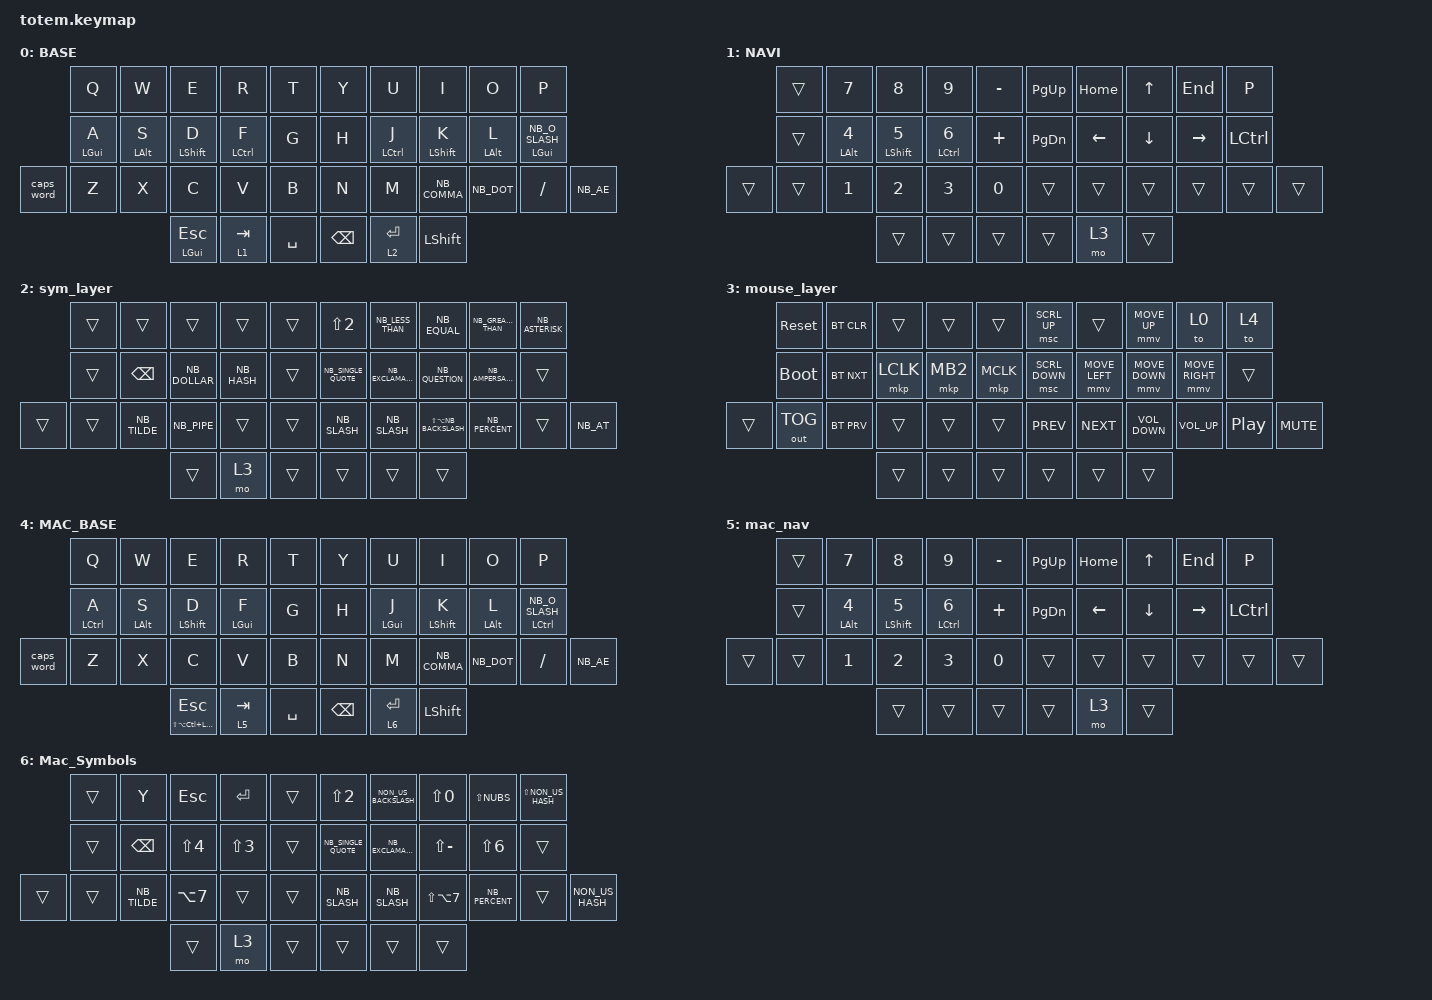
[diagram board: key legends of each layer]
//
//                                                        ▀▀▀▀▀     ▀▀▀▀▀          ▀▀█▀▀
//                                                        ▄▀▀▀▄  ▄  ▄▀▀▀▄  ▄  ▄▀▀▀▄  █  ▄▀▀▀▄
//                                                        █   █  █  █   █  █  █   █  █  █   █
//                                                         ▀▀▀   █   ▀▀▀   █   ▀▀▀   ▀   ▀▀▀
//                                                               █      ▄▄▄█▄▄▄    █   █  
//                                                               ▀      █  █  █     █▄█
//                                                             ▀▀▀▀▀    █  █  █      ▀
//                                                                      ▀  ▀  ▀
//
// ▄▄▄▄▄▄▄▄▄▄▄▄▄▄▄▄▄▄▄▄▄▄▄▄▄▄▄▄▄▄▄▄▄▄▄▄▄▄▄▄▄▄▄▄▄▄▄▄▄▄▄▄▄▄▄▄▄▄▄▄▄▄▄▄▄▄▄▄▄▄▄▄▄▄▄▄▄▄▄▄▄▄▄▄▄▄▄▄▄▄▄▄▄▄▄▄▄▄▄▄▄▄▄▄▄▄▄▄▄▄▄▄▄▄▄▄▄▄▄▄▄▄▄▄▄▄▄▄▄▄▄▄▄▄▄▄▄▄▄▄▄▄▄▄▄▄▄▄▄

#include <behaviors.dtsi>
#include <dt-bindings/zmk/bt.h>
#include <dt-bindings/zmk/keys.h>
#include <dt-bindings/zmk/outputs.h>
#include <dt-bindings/zmk/pointing.h>
#include "keys_nb.h"

#define BASE 0
#define NAV  1
#define SYM  2
#define ADJ  3
#define TVP1 4
#define TVP2 5
#define COMBO_TIMEOUT 50

&mt {
    quick-tap-ms = <100>;
    global-quick-tap;
    flavor = "tap-preferred";
    tapping-term-ms = <170>;
};

/ {
    combos {
        compatible = "zmk,combos";

        combo_esc {
            timeout-ms = <COMBO_TIMEOUT>;
            key-positions = <0 1>;
            bindings = <&kp NB_AT>;
        };

        sqbrackets {
            timeout-ms = <COMBO_TIMEOUT>;
            key-positions = <4 3>;
            bindings = <&kp NB_LEFT_BRACKET>;
        };

        brackets {
            timeout-ms = <COMBO_TIMEOUT>;
            bindings = <&kp NB_LEFT_PARENTHESIS>;
            key-positions = <13 14>;
        };

        sgbrackets {
            timeout-ms = <COMBO_TIMEOUT>;
            bindings = <&kp NB_LEFT_BRACE>;
            key-positions = <24 25>;
        };

        sqbrackete {
            timeout-ms = <COMBO_TIMEOUT>;
            bindings = <&kp NB_RIGHT_BRACKET>;
            key-positions = <5 6>;
            layers = <0>;
        };

        brackete {
            timeout-ms = <COMBO_TIMEOUT>;
            bindings = <&kp NB_RIGHT_PARENTHESIS>;
            key-positions = <15 16>;
        };

        sgbrackete {
            timeout-ms = <COMBO_TIMEOUT>;
            bindings = <&kp LS(LA(NB_RIGHT_BRACE))>;
            key-positions = <26 27>;
        };

        menu {
            timeout-ms = <COMBO_TIMEOUT>;
            bindings = <&kp LG(SPACE)>;
            key-positions = <34 35>;
        };

        semi {
            timeout-ms = <COMBO_TIMEOUT>;
            bindings = <&kp NB_SEMICOLON>;
            key-positions = <27 28>;
        };

        colon {
            timeout-ms = <COMBO_TIMEOUT>;
            bindings = <&kp NB_COLON>;
            key-positions = <28 29>;
        };

        underline {
            timeout-ms = <COMBO_TIMEOUT>;
            bindings = <&kp NB_UNDERSCORE>;
            key-positions = <29 30>;
        };

        nb_aa {
            timeout-ms = <COMBO_TIMEOUT>;
            bindings = <&kp NB_A_RING>;
            key-positions = <19 31>;
        };

        mac_bracket {
            timeout-ms = <COMBO_TIMEOUT>;
            bindings = <&kp LS(LA(N8))>;
            key-positions = <24 25>;
            layers = <4>;
        };

        mac_bracket_left {
            timeout-ms = <COMBO_TIMEOUT>;
            bindings = <&kp LS(LA(N9))>;
            key-positions = <26 27>;
            layers = <4>;
        };
    };

    macros {
        gif: gif {
            label = "giphy";
            compatible = "zmk,behavior-macro";
            #binding-cells = <0>;
            bindings =
                <&macro_press>,
                <&kp LSHFT>,
                <&macro_tap>,
                <&kp N2>,
                <&macro_release>,
                <&kp LSHFT>,
                <&macro_tap>,
                <&kp G &kp I &kp F>;
        };
    };

    keymap {
        compatible = "zmk,keymap";

        // ▄▄▄▄▄▄▄▄▄▄▄▄▄▄▄▄▄▄▄▄▄▄▄▄▄▄▄▄▄▄▄▄▄▄▄▄▄▄▄▄▄▄▄▄▄▄▄▄▄▄▄▄▄▄▄▄▄▄▄▄▄▄▄▄▄▄▄▄▄▄▄▄▄▄▄▄▄▄▄▄▄▄▄▄▄▄▄▄▄▄▄▄▄▄▄▄▄▄▄▄▄▄▄▄▄▄▄▄▄▄▄▄▄▄▄▄▄▄▄▄▄▄▄▄▄▄▄▄▄▄▄▄▄▄▄▄▄▄▄▄▄▄▄▄▄▄▄▄▄

        base_layer {
            // ┏━━━━━━━━━━━━━━━━━━━━━━━━━━━━━━━━━━━━━━━┓

            label = "BASE";

            // ┗━━━━━━━━━━━━━━━━━━━━━━━━━━━━━━━━━━━━━━━┛
            //             ┏━━━━━━━━━━━┳━━━━━━━━━━━┳━━━━━━━━━━━┳━━━━━━━━━━━┳━━━━━━━━━━━┓   ┏━━━━━━━━━━━┳━━━━━━━━━━━┳━━━━━━━━━━━┳━━━━━━━━━━━┳━━━━━━━━━━━┓
            //             ┃     Q     ┃     W     ┃     F     ┃     P     ┃     G     ┃   ┃     J     ┃     L     ┃     U     ┃     Y     ┃     ;     ┃
            //             ┣━━━━━━━━━━━╋━━━━━━━━━━━╋━━━━━━━━━━━╋━━━━━━━━━━━╋━━━━━━━━━━━┫   ┣━━━━━━━━━━━╋━━━━━━━━━━━╋━━━━━━━━━━━╋━━━━━━━━━━━╋━━━━━━━━━━━┫
            //             ┃     A     ┃     R     ┃     S     ┃     T     ┃     D     ┃   ┃     H     ┃     N     ┃     E     ┃     I     ┃     O     ┃
            // ┏━━━━━━━━━━━╋━━━━━━━━━━━╋━━━━━━━━━━━╋━━━━━━━━━━━╋━━━━━━━━━━━╋━━━━━━━━━━━┫   ┣━━━━━━━━━━━╋━━━━━━━━━━━╋━━━━━━━━━━━╋━━━━━━━━━━━╋━━━━━━━━━━━╋━━━━━━━━━━━┓
            // ┃     Q     ┃     Z     ┃     X     ┃     C     ┃     V     ┃     B     ┃   ┃     K     ┃     M     ┃     ,     ┃     .     ┃     /     ┃     \     ┃
            // ┗━━━━━━━━━━━┻━━━━━━━━━━━┻━━━━━━━━━━━╋━━━━━━━━━━━╋━━━━━━━━━━━╋━━━━━━━━━━━┫   ┣━━━━━━━━━━━╋━━━━━━━━━━━╋━━━━━━━━━━━╋━━━━━━━━━━━┻━━━━━━━━━━━┻━━━━━━━━━━━┛
            //                                     ┃    DEL    ┃    TAB    ┃    SPC    ┃   ┃   ENTER   ┃           ┃   BSPC    ┃
            //                                     ┗━━━━━━━━━━━┻━━━━━━━━━━━┻━━━━━━━━━━━┛   ┗━━━━━━━━━━━┻━━━━━━━━━━━┻━━━━━━━━━━━┛

            bindings = <
            &kp Q       &kp W       &kp E             &kp R               &kp T        &kp Y          &kp U               &kp I             &kp O           &kp P
            &mt LGUI A  &mt LALT S  &mt LEFT_SHIFT D  &mt LEFT_CONTROL F  &kp G        &kp H          &mt LEFT_CONTROL J  &mt LEFT_SHIFT K  &mt LEFT_ALT L  &mt LEFT_GUI NB_O_SLASH
&caps_word  &kp Z       &kp X       &kp C             &kp V               &kp B        &kp N          &kp M               &kp NB_COMMA      &kp NB_DOT      &kp FSLH                 &kp NB_AE
                                    &mt LGUI ESC      &lt 1 TAB           &kp SPACE    &kp BACKSPACE  &lt 2 ENTER         &kp LEFT_SHIFT
            >;
        };

        nav_layer {
            // ┏━━━━━━━━━━━━━━━━━━━━━━━━━━━━━━━━━━━━━━━┓

            label = "NAVI";

            // ┗━━━━━━━━━━━━━━━━━━━━━━━━━━━━━━━━━━━━━━━┛
            //             ┏━━━━━━━━━━━┳━━━━━━━━━━━┳━━━━━━━━━━━┳━━━━━━━━━━━┳━━━━━━━━━━━┓   ┏━━━━━━━━━━━┳━━━━━━━━━━━┳━━━━━━━━━━━┳━━━━━━━━━━━┳━━━━━━━━━━━┓
            //             ┃           ┃           ┃     UP    ┃           ┃     {     ┃   ┃     }     ┃     7     ┃     8     ┃     9     ┃     +     ┃
            //             ┣━━━━━━━━━━━╋━━━━━━━━━━━╋━━━━━━━━━━━╋━━━━━━━━━━━╋━━━━━━━━━━━┫   ┣━━━━━━━━━━━╋━━━━━━━━━━━╋━━━━━━━━━━━╋━━━━━━━━━━━╋━━━━━━━━━━━┫
            //             ┃   SHIFT   ┃   LEFT    ┃    DOWN   ┃   RIGHT   ┃     [     ┃   ┃     ]     ┃     4     ┃     5     ┃     6     ┃     -     ┃
            // ┏━━━━━━━━━━━╋━━━━━━━━━━━╋━━━━━━━━━━━╋━━━━━━━━━━━╋━━━━━━━━━━━╋━━━━━━━━━━━┫   ┣━━━━━━━━━━━╋━━━━━━━━━━━╋━━━━━━━━━━━╋━━━━━━━━━━━╋━━━━━━━━━━━╋━━━━━━━━━━━┓
            // ┃           ┃           ┃   P UP    ┃  C LOCK   ┃  P DOWN   ┃     (     ┃   ┃     )     ┃     1     ┃     2     ┃     3     ┃     *     ┃           ┃
            // ┗━━━━━━━━━━━┻━━━━━━━━━━━┻━━━━━━━━━━━╋━━━━━━━━━━━╋━━━━━━━━━━━╋━━━━━━━━━━━┫   ┣━━━━━━━━━━━╋━━━━━━━━━━━╋━━━━━━━━━━━╋━━━━━━━━━━━┻━━━━━━━━━━━┻━━━━━━━━━━━┛
            //                                     ┃           ┃    TAB    ┃    SPC    ┃   ┃    DEL    ┃     0     ┃           ┃
            //                                     ┗━━━━━━━━━━━┻━━━━━━━━━━━┻━━━━━━━━━━━┛   ┗━━━━━━━━━━━┻━━━━━━━━━━━┻━━━━━━━━━━━┛

            bindings = <
        &trans  &kp N7                 &kp N8                   &kp N9        &kp MINUS    &kp PG_UP  &kp HOME  &kp UP    &kp END    &kp P
        &trans  &mt LEFT_ALT NUMBER_4  &mt LEFT_SHIFT NUMBER_5  &mt LCTRL N6  &kp PLUS     &kp PG_DN  &kp LEFT  &kp DOWN  &kp RIGHT  &kp LCTRL
&trans  &trans  &kp N1                 &kp N2                   &kp N3        &kp N0       &trans     &trans    &trans    &trans     &trans     &trans
                                       &trans                   &trans        &trans       &trans     &mo 3     &trans
            >;
        };

        sym_layer {
            bindings = <
        &trans  &trans        &trans         &trans       &trans    &kp LS(NUMBER_2)     &kp NB_LESS_THAN    &kp NB_EQUAL              &kp NB_GREATER_THAN  &kp NB_ASTERISK
        &trans  &kp BSPC      &kp NB_DOLLAR  &kp NB_HASH  &trans    &kp NB_SINGLE_QUOTE  &kp NB_EXCLAMATION  &kp NB_QUESTION           &kp NB_AMPERSAND     &trans
&trans  &trans  &kp NB_TILDE  &kp NB_PIPE    &trans       &trans    &kp NB_SLASH         &kp NB_SLASH        &kp LS(LA(NB_BACKSLASH))  &kp NB_PERCENT       &trans           &kp NB_AT
                              &trans         &mo 3        &trans    &trans               &trans              &trans
            >;
        };

        mouse_layer {
            bindings = <
        &sys_reset    &bt BT_CLR  &trans     &trans    &trans       &msc SCRL_UP    &trans          &mmv MOVE_UP       &to 0            &to 4
        &bootloader   &bt BT_NXT  &mkp LCLK  &mkp MB2  &mkp MCLK    &msc SCRL_DOWN  &mmv MOVE_LEFT  &mmv MOVE_DOWN     &mmv MOVE_RIGHT  &trans
&trans  &out OUT_TOG  &bt BT_PRV  &trans     &trans    &trans       &kp C_PREV      &kp C_NEXT      &kp C_VOLUME_DOWN  &kp C_VOLUME_UP  &kp C_PLAY_PAUSE  &kp K_MUTE
                                  &trans     &trans    &trans       &trans          &trans          &trans
            >;
        };

        mac_base {
            label = "MAC_BASE";
            bindings = <
            &kp Q               &kp W       &kp E                     &kp R           &kp T        &kp Y          &kp U           &kp I             &kp O           &kp P
            &mt LEFT_CONTROL A  &mt LALT S  &mt LEFT_SHIFT D          &mt LEFT_GUI F  &kp G        &kp H          &mt LEFT_GUI J  &mt LEFT_SHIFT K  &mt LEFT_ALT L  &mt LEFT_CONTROL NB_O_SLASH
&caps_word  &kp Z               &kp X       &kp C                     &kp V           &kp B        &kp N          &kp M           &kp NB_COMMA      &kp NB_DOT      &kp FSLH                     &kp NB_AE
                                            &mt LS(LA(LC(LGUI))) ESC  &lt 5 TAB       &kp SPACE    &kp BACKSPACE  &lt 6 ENTER     &kp LEFT_SHIFT
            >;
        };

        mac_nav {
            label = "mac_nav";
            bindings = <
        &trans  &kp N7                 &kp N8                   &kp N9        &kp MINUS    &kp PG_UP  &kp HOME  &kp UP    &kp END    &kp P
        &trans  &mt LEFT_ALT NUMBER_4  &mt LEFT_SHIFT NUMBER_5  &mt LCTRL N6  &kp PLUS     &kp PG_DN  &kp LEFT  &kp DOWN  &kp RIGHT  &kp LCTRL
&trans  &trans  &kp N1                 &kp N2                   &kp N3        &kp N0       &trans     &trans    &trans    &trans     &trans     &trans
                                       &trans                   &trans        &trans       &trans     &mo 3     &trans
            >;
        };

        Mac_Symbols {
            bindings = <
        &trans  &kp Y         &kp ESC           &kp RET           &trans    &kp LS(NUMBER_2)     &kp NON_US_BACKSLASH  &kp LS(N0)      &kp LS(NUBS)    &kp LS(NON_US_HASH)
        &trans  &kp BSPC      &kp LS(NUMBER_4)  &kp LS(NUMBER_3)  &trans    &kp NB_SINGLE_QUOTE  &kp NB_EXCLAMATION    &kp LS(MINUS)   &kp LS(N6)      &trans
&trans  &trans  &kp NB_TILDE  &kp LA(N7)        &trans            &trans    &kp NB_SLASH         &kp NB_SLASH          &kp LS(LA(N7))  &kp NB_PERCENT  &trans               &kp NON_US_HASH
                              &trans            &mo 3             &trans    &trans               &trans                &trans
            >;
        };
    };
};
